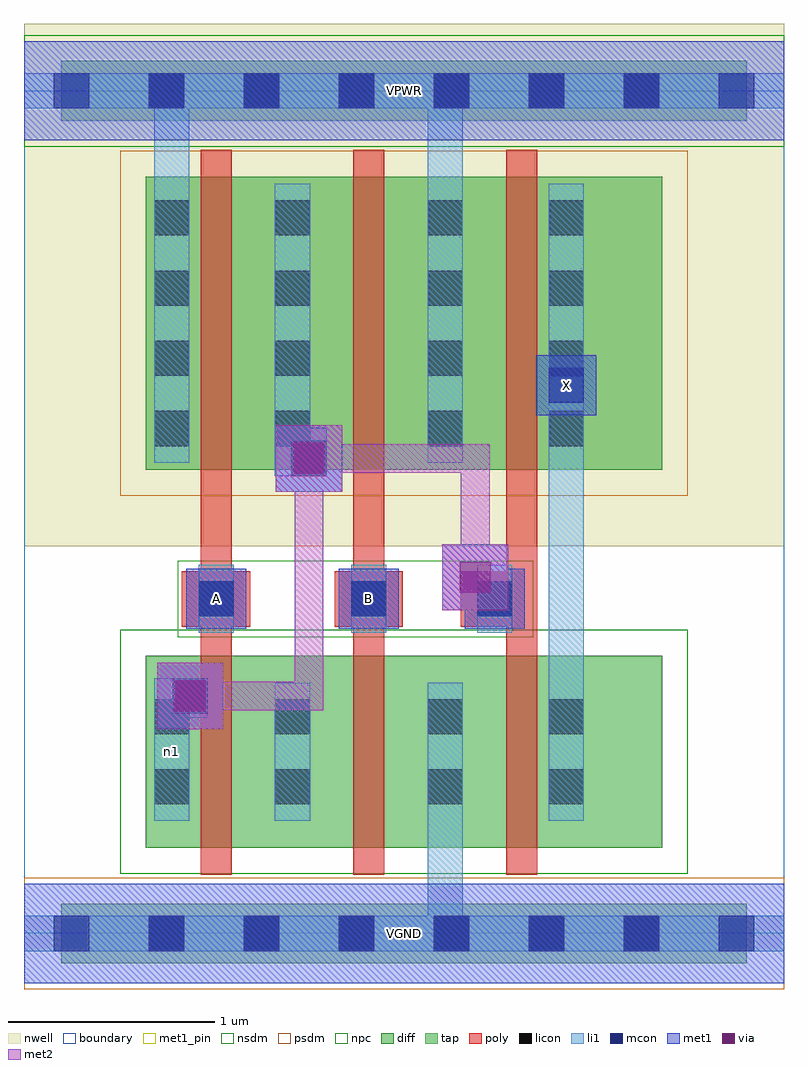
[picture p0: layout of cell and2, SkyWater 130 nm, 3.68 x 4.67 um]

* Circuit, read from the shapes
.subckt and2 A B VGND VPWR X n1
XM1 n2 A n1 VGND sky130_fd_pr__nfet_01v8 w=0.93 l=0.15
XM2 VGND B n2 VGND sky130_fd_pr__nfet_01v8 w=0.93 l=0.15
XM3 X n1 VGND VGND sky130_fd_pr__nfet_01v8 w=0.93 l=0.15
XM4 n1 A VPWR VPWR sky130_fd_pr__pfet_01v8 w=1.42 l=0.15
XM5 VPWR B n1 VPWR sky130_fd_pr__pfet_01v8 w=1.42 l=0.15
XM6 X n1 VPWR VPWR sky130_fd_pr__pfet_01v8 w=1.42 l=0.15
.ends

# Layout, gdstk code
import gdstk
lib = gdstk.Library(unit=1e-6, precision=1e-09)
def R(c, l, rs):  # rectangles x0, y0, x1, y1
    for r in rs: c.add(gdstk.rectangle(r[:2], r[2:], *l))
def A(c, l, x, y, w, h, nx, ny, dx, dy):  # array of equal rectangles
    R(c, l, [(x+i*dx, y+j*dy, x+i*dx+w, y+j*dy+h) for i in range(nx) for j in range(ny)])
nwell = (64, 20)
diff = (65, 20)
tap = (65, 44)
poly = (66, 20)
licon = (66, 44)
li1 = (67, 20)
mcon = (67, 44)
met1_pin = (68, 16)
met1 = (68, 20)
via = (68, 44)
met2 = (69, 20)
nsdm = (93, 44)
psdm = (94, 20)
npc = (95, 20)
boundary = (235, 4)

and2 = lib.new_cell('and2')
R(and2, nwell, [(0,1.875,3.68,4.405)])
R(and2, diff, [(0.59,0.415,3.09,1.345), (0.59,2.245,3.09,3.665)])
R(and2, tap, [(0.18,-0.145,3.5,0.145), (0.18,3.935,3.5,4.225)])
A(and2, poly, 0.855, 0.285, 0.15, 3.51, 3, 1, 0.74, 0)
R(and2, poly, [(0.765,1.485,1.095,1.755), (1.505,1.485,1.835,1.755), (2.115,1.485,2.445,1.755)])
A(and2, licon, 0.605, -0.085, 0.17, 0.17, 6, 2, 0.46, 4.08)
A(and2, licon, 0.63, 2.36, 0.17, 0.17, 1, 4, 0, 0.34)
A(and2, licon, 1.215, 2.36, 0.17, 0.17, 1, 4, 0, 0.34)
A(and2, licon, 1.955, 2.36, 0.17, 0.17, 1, 4, 0, 0.34)
A(and2, licon, 2.54, 2.36, 0.17, 0.17, 1, 4, 0, 0.34)
R(and2, licon, [(0.63,0.625,0.8,0.795), (1.215,0.625,1.385,0.795), (1.955,0.625,2.125,0.795), (2.54,0.625,2.71,0.795), (0.63,0.965,0.8,1.135), (1.215,0.965,1.385,1.135), (1.955,0.965,2.125,1.135), (2.54,0.965,2.71,1.135), (0.845,1.535,1.015,1.705), (1.585,1.535,1.755,1.705), (2.195,1.535,2.365,1.705)])
R(and2, li1, [(0,-0.085,3.68,0.085), (1.955,-0.085,2.125,1.215), (0.63,0.545,0.8,1.215), (1.215,0.545,1.385,1.215), (1.955,0.545,2.125,1.215), (2.54,0.545,2.71,1.215), (2.54,0.545,2.71,3.63), (0.63,1.045,0.89,1.235), (0.845,1.455,1.015,1.785), (1.585,1.455,1.755,1.785), (2.195,1.455,2.365,1.785), (1.215,2.215,1.465,2.45), (0.63,2.28,0.8,3.63), (0.63,2.28,0.8,4.165), (1.215,2.28,1.385,3.63), (1.955,2.28,2.125,3.63), (1.955,2.28,2.125,4.165), (2.54,2.28,2.71,3.63), (0,3.995,3.68,4.165)])
A(and2, mcon, 0.145, -0.085, 0.17, 0.17, 8, 2, 0.46, 4.08)
R(and2, mcon, [(0.72,1.065,0.89,1.235), (0.845,1.535,1.015,1.705), (1.585,1.535,1.755,1.705), (2.195,1.535,2.365,1.705), (1.295,2.215,1.465,2.385), (2.54,2.57,2.71,2.74)])
R(and2, met1_pin, [(0,-0.24,3.68,0.24), (0.785,1.475,1.075,1.765), (1.525,1.475,1.815,1.765), (2.48,2.51,2.77,2.8), (0,3.84,3.68,4.32)])
R(and2, met1, [(0,-0.24,3.68,0.24), (0.645,0.99,0.965,1.31), (0.66,1.005,0.95,1.295), (0.785,1.475,1.075,1.765), (1.525,1.475,1.815,1.765), (2.135,1.475,2.425,1.765), (2.025,1.565,2.345,1.885), (1.22,2.14,1.54,2.46), (1.235,2.155,1.525,2.445), (2.48,2.51,2.77,2.8), (0,3.84,3.68,4.32)])
R(and2, via, [(0.73,1.075,0.88,1.225), (2.11,1.65,2.26,1.8), (1.305,2.225,1.455,2.375)])
R(and2, met2, [(0.645,0.99,0.965,1.31), (0.735,1.08,1.45,1.22), (1.31,1.08,1.45,2.37), (2.025,1.565,2.345,1.885), (2.115,1.655,2.255,2.37), (1.22,2.14,1.54,2.46), (1.31,2.23,2.255,2.37)])
R(and2, nsdm, [(0.465,0.29,3.215,1.47), (0,3.81,3.68,4.35)])
R(and2, psdm, [(0,-0.27,3.68,0.27), (0.465,2.12,3.215,3.79)])
R(and2, npc, [(0.745,1.435,2.465,1.805)])
R(and2, boundary, [(0,0,3.68,4.08)])
and2.add(gdstk.Label('n1', (0.715,0.88), layer=67, texttype=5))
and2.add(gdstk.Label('X', (2.625,2.655), layer=68, texttype=5))
and2.add(gdstk.Label('A', (0.93,1.62), layer=68, texttype=5))
and2.add(gdstk.Label('B', (1.67,1.62), layer=68, texttype=5))
and2.add(gdstk.Label('VPWR', (1.84,4.08), layer=68, texttype=5))
and2.add(gdstk.Label('VGND', (1.84,0), layer=68, texttype=5))
and2.add(gdstk.Label('X', (2.625,2.655), layer=68, texttype=16))
and2.add(gdstk.Label('A', (0.93,1.62), layer=68, texttype=16))
and2.add(gdstk.Label('B', (1.67,1.62), layer=68, texttype=16))
and2.add(gdstk.Label('VPWR', (1.84,4.08), layer=68, texttype=16))
and2.add(gdstk.Label('VGND', (1.84,0), layer=68, texttype=16))

lib.write_gds('and2.gds')
